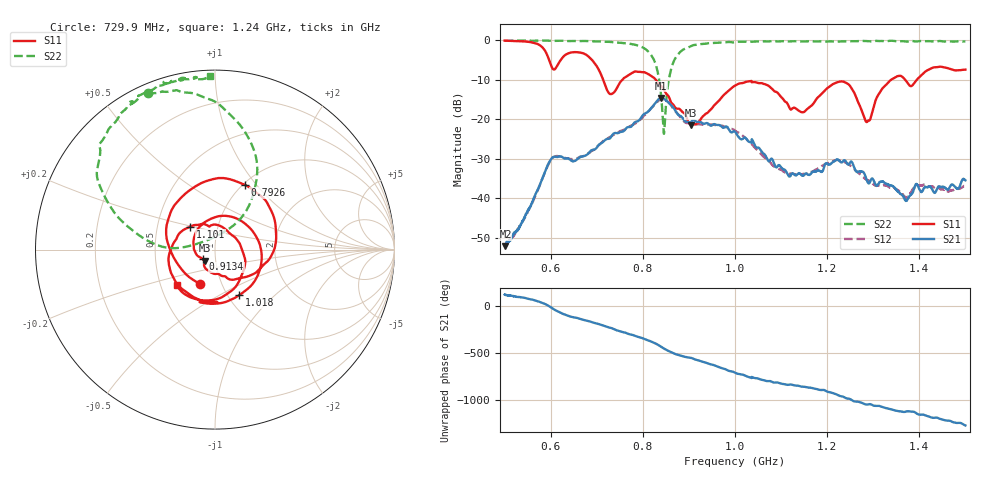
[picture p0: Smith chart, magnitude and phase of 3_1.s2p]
!Agilent Technologies,E8364B,US42250235,A.06.04.32
!Agilent E8364B: A.06.04.32
!Date: Thursday, October 01, 2020 10:57:52
!Correction: S11(Full 2 Port(1,2)) S21(Full 2 Port(1,2)) S12(Full 2 Port(1,2)) S22(Full 2 Port(1,2))
!S2P File: Measurements: S11, S21, S12, S22:
# Hz S  dB  R 50
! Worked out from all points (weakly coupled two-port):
!   2650 points, 500 MHz to 1.5 GHz, reference 50 ohm
!   highest |S21| = -14.67 dB at 839 MHz (marker M1); lowest = -52.2 dB at 501.9 MHz (marker M2)
!   lowest |S11| = -21.5 dB at 905.1 MHz (marker M3), VSWR 1.18, Z = 44.3 - j5.46 ohm
!   |S11| at or under -10 dB: 713.8 MHz to 755.9 MHz (42.12 MHz wide, 5.73 % of centre); 828 MHz to 1.339 GHz (511 MHz wide, 47.2 % of centre); 1.369 GHz to 1.395 GHz (25.67 MHz wide, 1.86 % of centre)
!   |S22| runs from -23.7 to -0.1 dB; largest |S21 - S12| = 0.016
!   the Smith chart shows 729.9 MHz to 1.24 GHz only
!   S11 on the Smith chart (normalised r, x): 729.9 MHz: 0.79, -0.32; 792.6 MHz: 1.02, +0.87; 913.4 MHz: 0.87, -0.10; 1.018 GHz: 1.13, -0.62; 1.101 GHz: 0.73, +0.19; 1.24 GHz: 0.61, -0.26
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5e8  -0.13 -174.8  -51.96 125.1  -52.15 124.2  -0.13 138.4
5.018875e8  -0.14 -175.8  -52.17 123.8  -51.62 122.4  -0.14 138.2
5.758777e8  -1.24 129.2  -36.75 48.8  -36.85 51.7  -0.09 132.4
6.019253e8  -6.70 112.0  -29.93 -13.9  -30.11 -10.6  -0.20 129.5
6.668554e8  -3.20 76.9  -29.50 -137.2  -29.48 -136.6  -0.23 120.0
6.978105e8  -6.19 15.2  -27.47 -178.5  -27.35 -175.8  -0.33 117.8
7.298981e8  -13.65 -113.3  -24.70 132.1  -24.43 132.0  -0.45 113.3
7.925632e8  -8.02 65.5  -20.19 32.7  -20.34 33.9  -1.51 92.5
8.337108e8  -10.92 -17.1  -14.98 -50.5  -15.36 -47.1  -8.96 54.4
8.389958e8  -11.48 -26.6  -14.67 -67.3  -14.93 -62.8  -13.28 50.6
8.465459e8  -12.78 -41.6  -14.93 -90.1  -15.01 -85.4  -23.11 134.0
8.657984e8  -16.30 -74.1  -16.98 -137.5  -17.36 -134.3  -5.73 164.4
9.050585e8  -21.53 -133.1  -20.67 172.0  -21.16 172.9  -1.46 139.1
9.133635e8  -21.32 -140.8  -20.44 155.9  -21.27 161.7  -1.20 137.5
1.000189e9  -11.50 -12.6  -23.21 14.5  -22.93 21.6  -0.53 117.4
1.017931e9  -10.82 -62.1  -24.89 -7.4  -24.33 -8.2  -0.39 115.5
1.100982e9  -14.49 137.4  -32.29 -102.1  -32.86 -100.5  -0.25 104.2
1.166667e9  -16.51 1.3  -33.55 -147.2  -33.37 -148.3  -0.24 101.4
1.239524e9  -10.73 -136.9  -30.55 107.1  -30.99 102.6  -0.28 91.7
1.287467e9  -20.59 -144.3  -35.87 35.5  -35.48 38.7  -0.25 89.0
1.333522e9  -10.56 -140.0  -36.63 -8.7  -37.17 -6.2  -0.20 82.4
1.5e9  -7.46 136.1  -35.51 173.5  -36.68 177.8  -0.32 64.8
